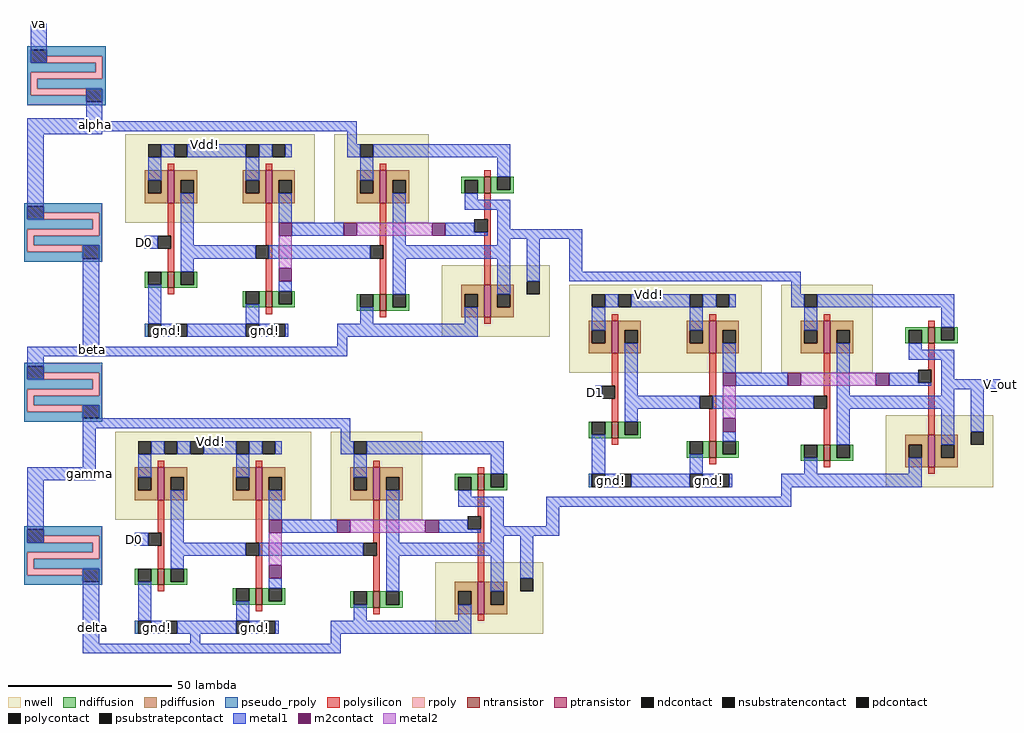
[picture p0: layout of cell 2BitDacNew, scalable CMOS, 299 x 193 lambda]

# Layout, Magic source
magic
tech scmos
<< nwell >>
rect 83 -34 141 -7
rect 147 -34 176 -7
rect 180 -69 213 -47
rect 219 -80 278 -53
rect 284 -80 312 -53
rect 80 -125 140 -98
rect 146 -125 174 -98
rect 316 -115 349 -93
rect 178 -160 211 -138
<< ntransistor >>
rect 193 -25 195 -20
rect 96 -54 98 -49
rect 126 -60 128 -55
rect 161 -61 163 -56
rect 329 -71 331 -66
rect 232 -100 234 -95
rect 262 -106 264 -101
rect 297 -107 299 -102
rect 191 -116 193 -111
rect 93 -145 95 -140
rect 123 -151 125 -146
rect 159 -152 161 -147
<< ptransistor >>
rect 96 -28 98 -18
rect 126 -28 128 -18
rect 161 -28 163 -18
rect 193 -63 195 -53
rect 232 -74 234 -64
rect 262 -74 264 -64
rect 297 -74 299 -64
rect 329 -109 331 -99
rect 93 -119 95 -109
rect 123 -119 125 -109
rect 159 -119 161 -109
rect 191 -154 193 -144
<< ndiffusion >>
rect 186 -21 193 -20
rect 186 -25 187 -21
rect 191 -25 193 -21
rect 195 -24 197 -20
rect 201 -24 202 -20
rect 195 -25 202 -24
rect 89 -53 90 -49
rect 94 -53 96 -49
rect 89 -54 96 -53
rect 98 -53 100 -49
rect 104 -53 105 -49
rect 98 -54 105 -53
rect 119 -59 120 -55
rect 124 -59 126 -55
rect 119 -60 126 -59
rect 128 -59 130 -55
rect 134 -59 135 -55
rect 128 -60 135 -59
rect 154 -60 155 -56
rect 159 -60 161 -56
rect 154 -61 161 -60
rect 163 -60 165 -56
rect 169 -60 170 -56
rect 163 -61 170 -60
rect 322 -67 329 -66
rect 322 -71 323 -67
rect 327 -71 329 -67
rect 331 -70 333 -66
rect 337 -70 338 -66
rect 331 -71 338 -70
rect 225 -99 226 -95
rect 230 -99 232 -95
rect 225 -100 232 -99
rect 234 -99 236 -95
rect 240 -99 241 -95
rect 234 -100 241 -99
rect 255 -105 256 -101
rect 260 -105 262 -101
rect 255 -106 262 -105
rect 264 -105 266 -101
rect 270 -105 271 -101
rect 264 -106 271 -105
rect 290 -106 291 -102
rect 295 -106 297 -102
rect 290 -107 297 -106
rect 299 -106 301 -102
rect 305 -106 306 -102
rect 299 -107 306 -106
rect 184 -112 191 -111
rect 184 -116 185 -112
rect 189 -116 191 -112
rect 193 -115 195 -111
rect 199 -115 200 -111
rect 193 -116 200 -115
rect 86 -144 87 -140
rect 91 -144 93 -140
rect 86 -145 93 -144
rect 95 -144 97 -140
rect 101 -144 102 -140
rect 95 -145 102 -144
rect 116 -150 117 -146
rect 121 -150 123 -146
rect 116 -151 123 -150
rect 125 -150 127 -146
rect 131 -150 132 -146
rect 125 -151 132 -150
rect 152 -151 153 -147
rect 157 -151 159 -147
rect 152 -152 159 -151
rect 161 -151 163 -147
rect 167 -151 168 -147
rect 161 -152 168 -151
<< pdiffusion >>
rect 89 -21 96 -18
rect 89 -25 90 -21
rect 94 -25 96 -21
rect 89 -28 96 -25
rect 98 -21 105 -18
rect 98 -25 100 -21
rect 104 -25 105 -21
rect 98 -28 105 -25
rect 119 -21 126 -18
rect 119 -25 120 -21
rect 124 -25 126 -21
rect 119 -28 126 -25
rect 128 -21 135 -18
rect 128 -25 130 -21
rect 134 -25 135 -21
rect 128 -28 135 -25
rect 154 -21 161 -18
rect 154 -25 155 -21
rect 159 -25 161 -21
rect 154 -28 161 -25
rect 163 -21 170 -18
rect 163 -25 165 -21
rect 169 -25 170 -21
rect 163 -28 170 -25
rect 186 -56 193 -53
rect 186 -60 187 -56
rect 191 -60 193 -56
rect 186 -63 193 -60
rect 195 -56 202 -53
rect 195 -60 197 -56
rect 201 -60 202 -56
rect 195 -63 202 -60
rect 225 -67 232 -64
rect 225 -71 226 -67
rect 230 -71 232 -67
rect 225 -74 232 -71
rect 234 -67 241 -64
rect 234 -71 236 -67
rect 240 -71 241 -67
rect 234 -74 241 -71
rect 255 -67 262 -64
rect 255 -71 256 -67
rect 260 -71 262 -67
rect 255 -74 262 -71
rect 264 -67 271 -64
rect 264 -71 266 -67
rect 270 -71 271 -67
rect 264 -74 271 -71
rect 290 -67 297 -64
rect 290 -71 291 -67
rect 295 -71 297 -67
rect 290 -74 297 -71
rect 299 -67 306 -64
rect 299 -71 301 -67
rect 305 -71 306 -67
rect 299 -74 306 -71
rect 322 -102 329 -99
rect 322 -106 323 -102
rect 327 -106 329 -102
rect 322 -109 329 -106
rect 331 -102 338 -99
rect 331 -106 333 -102
rect 337 -106 338 -102
rect 331 -109 338 -106
rect 86 -112 93 -109
rect 86 -116 87 -112
rect 91 -116 93 -112
rect 86 -119 93 -116
rect 95 -112 102 -109
rect 95 -116 97 -112
rect 101 -116 102 -112
rect 95 -119 102 -116
rect 116 -112 123 -109
rect 116 -116 117 -112
rect 121 -116 123 -112
rect 116 -119 123 -116
rect 125 -112 132 -109
rect 125 -116 127 -112
rect 131 -116 132 -112
rect 125 -119 132 -116
rect 152 -112 159 -109
rect 152 -116 153 -112
rect 157 -116 159 -112
rect 152 -119 159 -116
rect 161 -112 168 -109
rect 161 -116 163 -112
rect 167 -116 168 -112
rect 161 -119 168 -116
rect 184 -147 191 -144
rect 184 -151 185 -147
rect 189 -151 191 -147
rect 184 -154 191 -151
rect 193 -147 200 -144
rect 193 -151 195 -147
rect 199 -151 200 -147
rect 193 -154 200 -151
<< ndcontact >>
rect 187 -25 191 -21
rect 197 -24 201 -20
rect 90 -53 94 -49
rect 100 -53 104 -49
rect 120 -59 124 -55
rect 130 -59 134 -55
rect 155 -60 159 -56
rect 165 -60 169 -56
rect 323 -71 327 -67
rect 333 -70 337 -66
rect 226 -99 230 -95
rect 236 -99 240 -95
rect 256 -105 260 -101
rect 266 -105 270 -101
rect 291 -106 295 -102
rect 301 -106 305 -102
rect 185 -116 189 -112
rect 195 -115 199 -111
rect 87 -144 91 -140
rect 97 -144 101 -140
rect 117 -150 121 -146
rect 127 -150 131 -146
rect 153 -151 157 -147
rect 163 -151 167 -147
<< pdcontact >>
rect 90 -25 94 -21
rect 100 -25 104 -21
rect 120 -25 124 -21
rect 130 -25 134 -21
rect 155 -25 159 -21
rect 165 -25 169 -21
rect 187 -60 191 -56
rect 197 -60 201 -56
rect 226 -71 230 -67
rect 236 -71 240 -67
rect 256 -71 260 -67
rect 266 -71 270 -67
rect 291 -71 295 -67
rect 301 -71 305 -67
rect 323 -106 327 -102
rect 333 -106 337 -102
rect 87 -116 91 -112
rect 97 -116 101 -112
rect 117 -116 121 -112
rect 127 -116 131 -112
rect 153 -116 157 -112
rect 163 -116 167 -112
rect 185 -151 189 -147
rect 195 -151 199 -147
<< psubstratepcontact >>
rect 90 -69 94 -65
rect 98 -69 102 -65
rect 120 -69 124 -65
rect 128 -69 132 -65
rect 226 -115 230 -111
rect 234 -115 238 -111
rect 256 -115 260 -111
rect 264 -115 268 -111
rect 87 -160 91 -156
rect 95 -160 99 -156
rect 117 -160 121 -156
rect 125 -160 129 -156
<< nsubstratencontact >>
rect 90 -14 94 -10
rect 98 -14 102 -10
rect 120 -14 124 -10
rect 128 -14 132 -10
rect 155 -14 159 -10
rect 206 -56 210 -52
rect 226 -60 230 -56
rect 234 -60 238 -56
rect 256 -60 260 -56
rect 264 -60 268 -56
rect 291 -60 295 -56
rect 87 -105 91 -101
rect 95 -105 99 -101
rect 103 -105 107 -101
rect 117 -105 121 -101
rect 125 -105 129 -101
rect 153 -105 157 -101
rect 342 -102 346 -98
rect 204 -147 208 -143
<< polysilicon >>
rect 96 -18 98 -16
rect 126 -18 128 -16
rect 161 -18 163 -16
rect 193 -20 195 -18
rect 96 -38 98 -28
rect 97 -42 98 -38
rect 126 -41 128 -28
rect 161 -41 163 -28
rect 193 -33 195 -25
rect 194 -37 195 -33
rect 96 -49 98 -42
rect 127 -45 128 -41
rect 162 -45 163 -41
rect 96 -56 98 -54
rect 126 -55 128 -45
rect 161 -56 163 -45
rect 193 -53 195 -37
rect 126 -62 128 -60
rect 161 -63 163 -61
rect 193 -65 195 -63
rect 232 -64 234 -62
rect 262 -64 264 -62
rect 297 -64 299 -62
rect 329 -66 331 -64
rect 232 -84 234 -74
rect 233 -88 234 -84
rect 262 -87 264 -74
rect 297 -87 299 -74
rect 329 -79 331 -71
rect 330 -83 331 -79
rect 232 -95 234 -88
rect 263 -91 264 -87
rect 298 -91 299 -87
rect 232 -102 234 -100
rect 262 -101 264 -91
rect 297 -102 299 -91
rect 329 -99 331 -83
rect 93 -109 95 -107
rect 123 -109 125 -107
rect 159 -109 161 -107
rect 262 -108 264 -106
rect 297 -109 299 -107
rect 191 -111 193 -109
rect 329 -111 331 -109
rect 93 -129 95 -119
rect 94 -133 95 -129
rect 123 -132 125 -119
rect 159 -132 161 -119
rect 191 -124 193 -116
rect 192 -128 193 -124
rect 93 -140 95 -133
rect 124 -136 125 -132
rect 160 -136 161 -132
rect 93 -147 95 -145
rect 123 -146 125 -136
rect 159 -147 161 -136
rect 191 -144 193 -128
rect 123 -153 125 -151
rect 159 -154 161 -152
rect 191 -156 193 -154
<< polycontact >>
rect 93 -42 97 -38
rect 190 -37 194 -33
rect 123 -45 127 -41
rect 158 -45 162 -41
rect 229 -88 233 -84
rect 326 -83 330 -79
rect 259 -91 263 -87
rect 294 -91 298 -87
rect 90 -133 94 -129
rect 188 -128 192 -124
rect 120 -136 124 -132
rect 156 -136 160 -132
<< metal1 >>
rect 54 15 59 27
rect 71 -2 76 7
rect 53 -3 76 -2
rect 53 -6 154 -3
rect 53 -7 76 -6
rect 53 -33 58 -7
rect 151 -10 154 -6
rect 94 -14 98 -10
rect 102 -14 120 -10
rect 124 -14 128 -10
rect 132 -14 134 -10
rect 151 -14 155 -10
rect 159 -14 201 -10
rect 90 -21 94 -14
rect 120 -21 124 -14
rect 155 -21 159 -14
rect 197 -20 201 -14
rect 70 -72 75 -41
rect 89 -42 93 -38
rect 100 -41 104 -25
rect 130 -34 134 -25
rect 134 -38 150 -34
rect 165 -41 169 -25
rect 187 -27 191 -25
rect 187 -30 201 -27
rect 181 -37 190 -34
rect 181 -38 194 -37
rect 197 -36 201 -30
rect 197 -39 223 -36
rect 197 -41 201 -39
rect 100 -45 123 -41
rect 127 -45 158 -41
rect 165 -45 201 -41
rect 100 -49 104 -45
rect 90 -65 94 -53
rect 130 -55 134 -52
rect 165 -56 169 -45
rect 197 -56 201 -45
rect 206 -52 210 -39
rect 219 -49 223 -39
rect 219 -52 290 -49
rect 287 -56 290 -52
rect 120 -65 124 -59
rect 230 -60 234 -56
rect 238 -60 256 -56
rect 260 -60 264 -56
rect 268 -60 270 -56
rect 287 -60 291 -56
rect 295 -60 337 -56
rect 155 -65 159 -60
rect 187 -65 191 -60
rect 94 -69 98 -65
rect 102 -69 120 -65
rect 124 -69 128 -65
rect 132 -69 133 -65
rect 148 -69 191 -65
rect 226 -67 230 -60
rect 256 -67 260 -60
rect 291 -67 295 -60
rect 333 -66 337 -60
rect 148 -72 151 -69
rect 53 -75 151 -72
rect 53 -82 58 -75
rect 227 -88 229 -84
rect 236 -87 240 -71
rect 266 -80 270 -71
rect 270 -84 286 -80
rect 301 -87 305 -71
rect 323 -73 327 -71
rect 323 -76 337 -73
rect 317 -83 326 -80
rect 317 -84 330 -83
rect 333 -82 337 -76
rect 333 -85 351 -82
rect 333 -87 337 -85
rect 70 -94 75 -90
rect 236 -91 259 -87
rect 263 -91 294 -87
rect 301 -91 337 -87
rect 70 -97 152 -94
rect 236 -95 240 -91
rect 70 -109 74 -97
rect 149 -101 152 -97
rect 53 -113 74 -109
rect 91 -105 95 -101
rect 99 -105 103 -101
rect 107 -105 117 -101
rect 121 -105 125 -101
rect 129 -105 131 -101
rect 149 -105 153 -101
rect 157 -105 199 -101
rect 87 -112 91 -105
rect 117 -112 121 -105
rect 153 -112 157 -105
rect 195 -111 199 -105
rect 53 -132 58 -113
rect 86 -133 90 -129
rect 97 -132 101 -116
rect 127 -125 131 -116
rect 131 -129 148 -125
rect 163 -132 167 -116
rect 226 -111 230 -99
rect 266 -101 270 -98
rect 301 -102 305 -91
rect 333 -102 337 -91
rect 342 -98 346 -85
rect 256 -111 260 -105
rect 291 -111 295 -106
rect 323 -111 327 -106
rect 230 -115 234 -111
rect 238 -115 256 -111
rect 260 -115 264 -111
rect 268 -115 269 -111
rect 284 -115 327 -111
rect 185 -118 189 -116
rect 284 -118 287 -115
rect 185 -121 199 -118
rect 179 -128 188 -125
rect 179 -129 192 -128
rect 195 -127 199 -121
rect 212 -121 287 -118
rect 212 -127 216 -121
rect 195 -130 216 -127
rect 195 -132 199 -130
rect 97 -136 120 -132
rect 124 -136 156 -132
rect 163 -136 199 -132
rect 97 -140 101 -136
rect 70 -163 75 -140
rect 87 -156 91 -144
rect 127 -146 131 -143
rect 163 -147 167 -136
rect 195 -147 199 -136
rect 204 -143 208 -130
rect 117 -156 121 -150
rect 153 -156 157 -151
rect 185 -156 189 -151
rect 91 -160 95 -156
rect 99 -160 117 -156
rect 121 -160 125 -156
rect 129 -160 130 -156
rect 146 -160 189 -156
rect 103 -163 106 -160
rect 146 -163 149 -160
rect 70 -166 149 -163
<< m2contact >>
rect 130 -38 134 -34
rect 150 -38 154 -34
rect 177 -38 181 -34
rect 130 -52 134 -48
rect 266 -84 270 -80
rect 286 -84 290 -80
rect 313 -84 317 -80
rect 266 -98 270 -94
rect 127 -129 131 -125
rect 148 -129 152 -125
rect 175 -129 179 -125
rect 127 -143 131 -139
<< metal2 >>
rect 154 -38 177 -34
rect 130 -48 134 -38
rect 290 -84 313 -80
rect 266 -94 270 -84
rect 152 -129 175 -125
rect 127 -139 131 -129
<< pseudo_rpoly >>
rect 89 -69 90 -65
rect 225 -115 226 -111
rect 86 -160 87 -156
use resistor  resistor_0
transform 1 0 62 0 1 9
box -9 -7 15 11
use resistor  resistor_1
transform 1 0 61 0 1 -39
box -9 -7 15 11
use resistor  resistor_2
transform 1 0 61 0 1 -88
box -9 -7 15 11
use resistor  resistor_3
transform 1 0 61 0 1 -138
box -9 -7 15 11
<< labels >>
rlabel metal1 262 -113 262 -113 1 gnd!
rlabel metal1 232 -113 232 -113 1 gnd!
rlabel metal1 227 -88 227 -84 1 D1
rlabel metal1 54 27 59 27 4 va
rlabel metal1 74 -4 74 -4 1 alpha
rlabel metal1 73 -73 73 -73 1 beta
rlabel metal1 72 -111 72 -111 1 gamma
rlabel metal1 73 -158 73 -158 1 delta
rlabel metal1 96 -67 96 -67 1 gnd!
rlabel metal1 126 -67 126 -67 1 gnd!
rlabel metal1 89 -42 89 -38 1 D0
rlabel metal1 86 -133 86 -129 1 D0
rlabel metal1 93 -158 93 -158 1 gnd!
rlabel metal1 123 -158 123 -158 1 gnd!
rlabel metal1 351 -85 351 -82 7 V_out
rlabel metal1 106 -10 109 -10 1 Vdd!
rlabel metal1 108 -101 111 -101 1 Vdd!
rlabel metal1 242 -56 245 -56 1 Vdd!
<< end >>

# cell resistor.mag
magic
tech scmos
<< polycontact >>
rect -8 6 -3 10
rect 9 -6 14 -2
<< pseudo_rpoly >>
rect -9 10 15 11
rect -9 6 -8 10
rect -3 8 15 10
rect -9 3 12 6
rect -9 -4 -8 3
rect 14 1 15 8
rect -6 -2 15 1
rect -9 -6 9 -4
rect 14 -6 15 -2
rect -9 -7 15 -6
<< rpoly >>
rect -3 6 14 8
rect 12 3 14 6
rect -8 1 14 3
rect -8 -2 -6 1
rect -8 -4 9 -2
<< labels >>
rlabel polycontact 12 -4 12 -4 8 b
rlabel polycontact -6 8 -6 8 4 a
<< end >>
